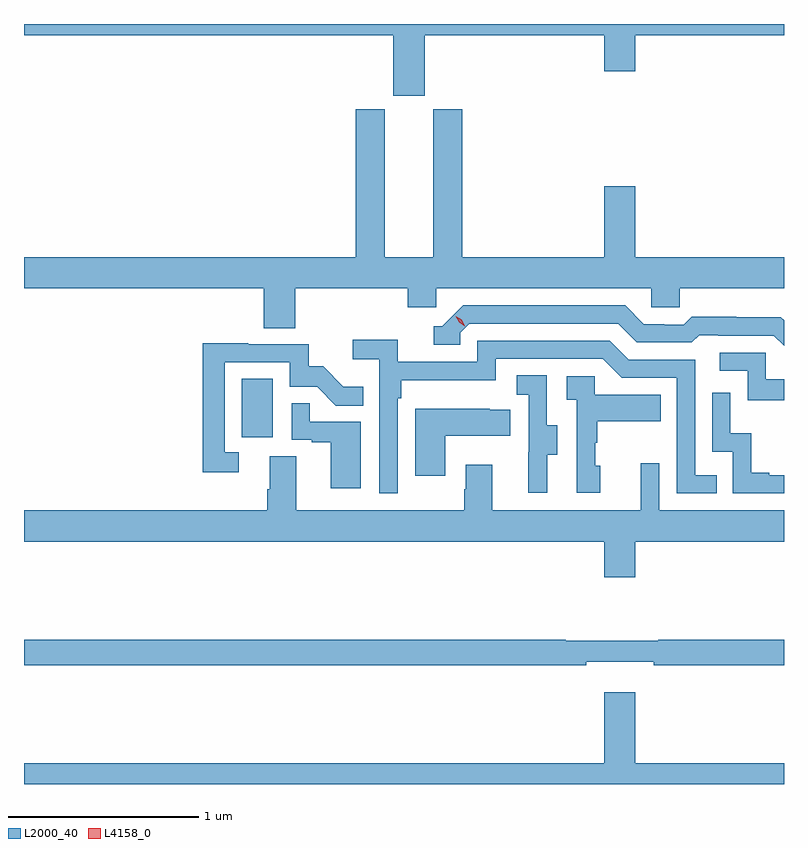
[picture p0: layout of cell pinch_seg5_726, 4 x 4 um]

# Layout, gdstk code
import gdstk
lib = gdstk.Library(unit=1e-6, precision=1e-09)
def R(c, l, rs):  # rectangles x0, y0, x1, y1
    for r in rs: c.add(gdstk.rectangle(r[:2], r[2:], *l))
def P(c, l, *ps):  # polygons
    for p in ps: c.add(gdstk.Polygon(p, *l))
L2000_40 = (2000, 40)
L4158_0 = (4158, 0)

pinch_seg5_726 = lib.new_cell('pinch_seg5_726')
R(pinch_seg5_726, L2000_40, [(1098.164,835.998,1098.328,836.305)])
P(pinch_seg5_726, L2000_40, [(1099.126,838.112),(1100.072,838.112),(1100.072,837.924),(1100.236,837.924),(1100.236,838.112),(1101.018,838.112),(1101.018,838.172),(1097.018,838.172),(1097.018,838.112),(1098.962,838.112),(1098.962,837.795),(1099.126,837.795)],
  [(1098.446,836.78),(1099.037,836.78),(1099.037,836.682),(1099.188,836.682),(1099.188,836.78),(1100.319,836.78),(1100.319,836.682),(1100.469,836.682),(1100.469,836.78),(1101.018,836.78),(1101.018,836.944),(1100.236,836.944),(1100.236,837.319),(1100.072,837.319),(1100.072,836.944),(1099.325,836.944),(1099.325,837.723),(1099.172,837.723),(1099.172,836.944),(1098.916,836.944),(1098.916,837.723),(1098.764,837.723),(1098.764,836.944),(1097.018,836.944),(1097.018,836.78),(1098.281,836.78),(1098.281,836.572),(1098.446,836.572)],
  [(1101.018,836.613),(1101.002,836.629),(1100.766,836.629),(1100.766,836.632),(1100.533,836.632),(1100.491,836.589),(1100.388,836.589),(1100.388,836.592),(1100.281,836.592),(1100.182,836.691),(1099.329,836.691),(1099.218,836.58),(1099.175,836.58),(1099.175,836.484),(1099.314,836.484),(1099.314,836.547),(1099.362,836.595),(1100.145,836.595),(1100.244,836.496),(1100.533,836.496),(1100.572,836.535),(1100.671,836.535),(1100.671,836.532),(1100.964,836.532),(1101.018,836.478)],
  [(1098.984,836.201),(1099.004,836.201),(1099.004,836.297),(1099.5,836.297),(1099.5,836.409),(1100.064,836.409),(1100.163,836.31),(1100.454,836.31),(1100.454,835.701),(1100.663,835.701),(1100.663,835.797),(1100.55,835.797),(1100.55,836.406),(1100.2,836.406),(1100.101,836.505),(1099.404,836.505),(1099.404,836.394),(1098.986,836.394),(1098.986,836.51),(1098.747,836.51),(1098.747,836.408),(1098.888,836.408),(1098.888,835.701),(1098.984,835.701)],
  [(1098.148,835.917),(1098.075,835.917),(1098.075,836.391),(1098.417,836.391),(1098.417,836.262),(1098.561,836.262),(1098.659,836.164),(1098.803,836.164),(1098.803,836.263),(1098.699,836.263),(1098.592,836.37),(1098.516,836.37),(1098.516,836.487),(1098.197,836.487),(1098.197,836.492),(1097.959,836.492),(1097.959,835.812),(1098.148,835.812)],
  [(1101.018,836.301),(1100.922,836.301),(1100.922,836.442),(1100.679,836.442),(1100.679,836.346),(1100.826,836.346),(1100.826,836.193),(1101.018,836.193)],
  [(1099.771,835.906),(1099.825,835.906),(1099.825,836.061),(1099.77,836.061),(1099.77,836.324),(1099.611,836.324),(1099.611,836.221),(1099.674,836.221),(1099.674,835.917),(1099.673,835.917),(1099.673,835.704),(1099.771,835.704)],
  [(1100.05,835.848),(1100.025,835.848),(1100.025,835.967),(1100.035,835.967),(1100.035,836.081),(1100.369,836.081),(1100.369,836.221),(1100.022,836.221),(1100.022,836.319),(1099.875,836.319),(1099.875,836.195),(1099.926,836.195),(1099.926,835.704),(1100.05,835.704)],
  [(1101.018,835.797),(1100.941,835.797),(1100.941,835.81),(1100.846,835.81),(1100.846,836.018),(1100.736,836.018),(1100.736,836.23),(1100.64,836.23),(1100.64,835.92),(1100.748,835.92),(1100.748,835.701),(1101.018,835.701)],
  [(1098.79,836.079),(1098.521,836.079),(1098.521,836.177),(1098.426,836.177),(1098.426,835.983),(1098.533,835.983),(1098.533,835.971),(1098.632,835.971),(1098.632,835.728),(1098.79,835.728)],
  [(1099.234,836.006),(1099.577,836.006),(1099.577,836.143),(1099.469,836.143),(1099.469,836.146),(1099.076,836.146),(1099.076,835.794),(1099.234,835.794)],
  [(1100.236,835.448),(1101.018,835.448),(1101.018,835.612),(1100.361,835.612),(1100.361,835.861),(1100.264,835.861),(1100.264,835.612),(1099.483,835.612),(1099.483,835.852),(1099.343,835.852),(1099.343,835.724),(1099.336,835.724),(1099.336,835.612),(1098.451,835.612),(1098.451,835.898),(1098.311,835.898),(1098.311,835.724),(1098.299,835.724),(1098.299,835.612),(1097.018,835.612),(1097.018,835.448),(1100.072,835.448),(1100.072,835.26),(1100.236,835.26)],
  [(1099.976,834.815),(1100.332,834.815),(1100.332,834.796),(1101.018,834.796),(1101.018,834.932),(1100.355,834.932),(1100.355,834.925),(1099.87,834.925),(1099.87,834.932),(1097.018,834.932),(1097.018,834.796),(1099.976,834.796)],
  [(1101.018,834.28),(1100.236,834.28),(1100.236,834.655),(1100.072,834.655),(1100.072,834.28),(1097.018,834.28),(1097.018,834.172),(1101.018,834.172)])
P(pinch_seg5_726, L4158_0, [(1099.339,836.582),(1099.308,836.601),(1099.291,836.633),(1099.291,836.633),(1099.291,836.633),(1099.322,836.615),(1099.339,836.582),(1099.339,836.582)])

lib.write_gds('pinch_seg5_726.gds')
